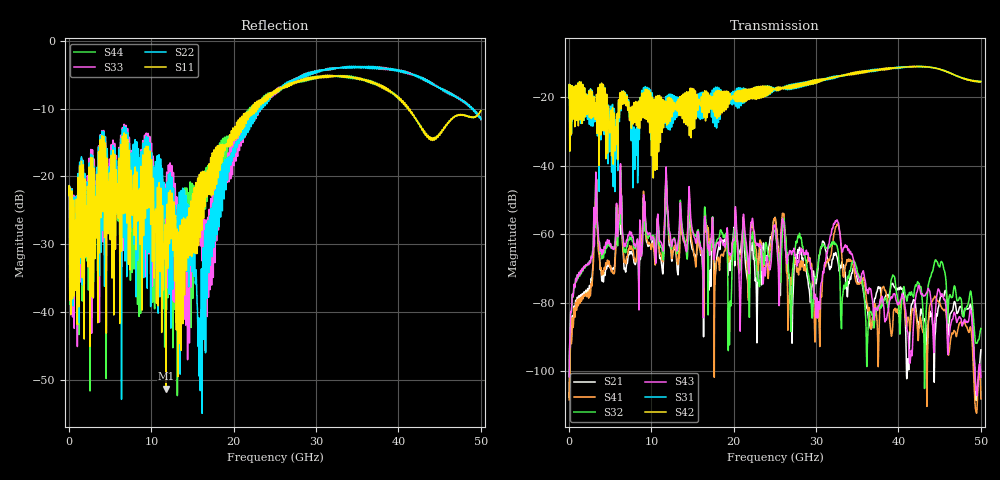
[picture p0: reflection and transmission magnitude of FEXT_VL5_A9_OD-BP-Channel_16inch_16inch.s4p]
#	Hz	S	RI	R	50
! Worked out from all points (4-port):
!   2500 points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, 20 MHz to 50 GHz, reference 50 ohm
!   strongest paths, dB at 20 MHz, 12.52 GHz, 25.02 GHz, 37.52 GHz, 50 GHz:
!     S42: -20.3, -23.3, -17.7, -11.9, -15.4
!     S31: -20.3, -21.3, -18.1, -12.0, -15.5
!     S43: -101.6, -62.8, -57.4, -81.6, -101.7
!     S32: -101.4, -62.8, -58.9, -80.8, -87.5
!     S41: -108.3, -67.0, -55.2, -98.1, -108.0
!     S21: -107.5, -67.5, -55.1, -75.5, -93.7
!   lowest |S11| = -51.3 dB at 11.78 GHz (marker M1), VSWR 1.01, Z = 49.7 - j0.0585 ohm
!   |S11| at or under -10 dB: start of sweep to 22.14 GHz; 22.2 GHz to 22.33 GHz (127.1 MHz wide, 0.571 % of centre); 41.23 GHz to end of sweep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
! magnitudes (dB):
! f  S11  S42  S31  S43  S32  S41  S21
! 20 MHz  -22.8  -20.3  -20.3  -101.6  -101.4  -108.3  -107.5
! 3.24 GHz  -23.2  -23.5  -23.1  -47.9  -48.8  -47.2  -48.0
! 11.78 GHz  -51.3  -22.8  -21.4  -40.4  -42.3  -40.9  -42.8
! 15.78 GHz  -22.6  -21.0  -21.2  -61.7  -61.0  -62.7  -62.0
! 19.52 GHz  -13.8  -20.4  -19.2  -65.9  -84.4  -67.1  -69.6
! 26.1 GHz  -7.0  -17.4  -17.6  -56.7  -55.4  -54.5  -55.4
! 50 GHz  -10.3  -15.4  -15.5  -101.7  -87.5  -108.0  -93.7
